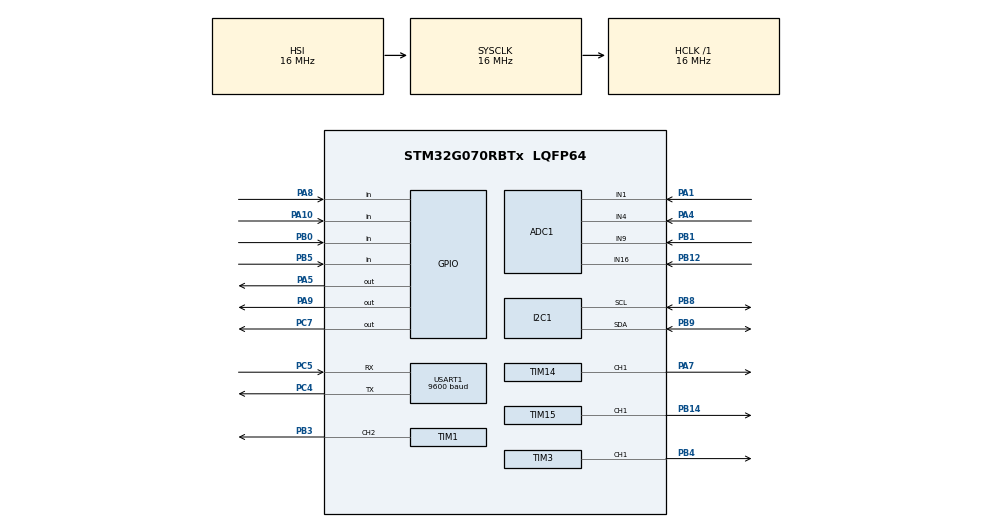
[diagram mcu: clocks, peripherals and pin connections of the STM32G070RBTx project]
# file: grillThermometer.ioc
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ADC1.DiscontinuousConvMode=ENABLE
ADC1.NbrOfConversion=1
ADC1.NbrOfConversionFlag=0
ADC1.SelectedChannel=ADC_CHANNEL_1|ADC_CHANNEL_4|ADC_CHANNEL_9|ADC_CHANNEL_16
ADC1.Sequencer=NOT_FULLY_CONFIGURABLE
ADC1.master=1
Mcu.Family=STM32G0
Mcu.Name=STM32G070RBTx
Mcu.Package=LQFP64
NVIC.ADC1_IRQn=true\:0\:0\:false\:false\:true\:true\:true
NVIC.USART1_IRQn=true\:0\:0\:false\:false\:true\:true\:true
PA1.Mode=IN1
PA1.Signal=ADC1_IN1
PA10.Signal=GPIO_Input
PA4.Mode=IN4
PA4.Signal=ADC1_IN4
PA5.Signal=GPIO_Output
PA7.Signal=S_TIM14_CH1
PA8.Signal=GPIO_Input
PA9.Signal=GPIO_Output
PB0.Signal=GPIO_Input
PB1.Mode=IN9
PB1.Signal=ADC1_IN9
PB12.Mode=IN16
PB12.Signal=ADC1_IN16
PB14.Signal=S_TIM15_CH1
PB3.Signal=S_TIM1_CH2
PB4.Signal=S_TIM3_CH1
PB5.Signal=GPIO_Input
PB8.Mode=I2C
PB8.Signal=I2C1_SCL
PB9.Mode=I2C
PB9.Signal=I2C1_SDA
PC4.Mode=Asynchronous
PC4.Signal=USART1_TX
PC5.Mode=Asynchronous
PC5.Signal=USART1_RX
PC7.Signal=GPIO_Output
ProjectManager.HeapSize=0x200
ProjectManager.StackSize=0x400
ProjectManager.TargetToolchain=EWARM V8.32
RCC.AHBFreq_Value=16000000
RCC.CortexFreq_Value=16000000
RCC.EXTERNAL_CLOCK_VALUE=48000
RCC.HCLKFreq_Value=16000000
RCC.HSE_VALUE=8000000
RCC.HSI_VALUE=16000000
RCC.LSE_VALUE=32768
RCC.SYSCLKFreq_VALUE=16000000
RCC.VCOOutputFreq_Value=128000000
SH.S_TIM14_CH1.0=TIM14_CH1,PWM Generation1 CH1
SH.S_TIM15_CH1.0=TIM15_CH1,PWM Generation1 CH1
SH.S_TIM1_CH2.0=TIM1_CH2,PWM Generation2 CH2
SH.S_TIM3_CH1.0=TIM3_CH1,PWM Generation1 CH1
TIM1.Channel-PWM\ Generation2\ CH2=TIM_CHANNEL_2
TIM14.Channel=TIM_CHANNEL_1
TIM14.Period=7000
TIM14.Pulse=3500
TIM15.Channel-PWM\ Generation1\ CH1=TIM_CHANNEL_1
TIM3.Channel-PWM\ Generation1\ CH1=TIM_CHANNEL_1
USART1.BaudRate=9600
USART1.VirtualMode-Asynchronous=VM_ASYNC
VP_SYS_VS_DBSignals.Mode=DisableDeadBatterySignals
VP_TIM14_VS_ClockSourceINT.Mode=Enable_Timer
VP_TIM15_VS_ClockSourceINT.Mode=Internal
VP_TIM1_VS_ClockSourceINT.Mode=Internal
VP_TIM3_VS_ClockSourceINT.Mode=Internal
board=custom

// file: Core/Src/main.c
/* USER CODE BEGIN Header */
/**
  ******************************************************************************
  * @file           : main.c
  * @brief          : Main program body
  ******************************************************************************
  * @attention
  *
  * <h2><center>&copy; Copyright (c) 2021 STMicroelectronics.
  * All rights reserved.</center></h2>
  *
  * This software component is licensed by ST under BSD 3-Clause license,
  * the "License"; You may not use this file except in compliance with the
  * License. You may obtain a copy of the License at:
  *                        opensource.org/licenses/BSD-3-Clause
  *
  ******************************************************************************
  */
/* USER CODE END Header */
#include "main.h"

/* USER CODE BEGIN Includes */
#include "KeyboardHoldRepeat.h"
#include "waveform_16.h"
#include "ssd1306.h"
#include "fonts.h"
#include "ux_manager.h"
#include "serial.h"
#include "serial_user.h"
#include "stm32g0xx_ll_usart.h"
#include "grill_bitmaps.h"
#include "Thermistor.h"
#include "Thermocouple.h"
#include <math.h>

/* USER CODE END Includes */

/* USER CODE BEGIN PD */

// LED defines
#define LED_ON GPIO_PIN_RESET
#define LED_OFF GPIO_PIN_SET
#define RGB_LED_ON GPIO_PIN_SET
#define RGB_LED_OFF GPIO_PIN_RESET
#define LED1 GPIOA, GPIO_PIN_9
#define LED2 GPIOC, GPIO_PIN_7
#define LED3 GPIOA, GPIO_PIN_5

/* USER CODE END PD */

ADC_HandleTypeDef hadc1;

I2C_HandleTypeDef hi2c1;

TIM_HandleTypeDef htim1;
TIM_HandleTypeDef htim3;
TIM_HandleTypeDef htim14;
TIM_HandleTypeDef htim15;

UART_HandleTypeDef huart1;

/* USER CODE BEGIN PV */

// scheduler variables
extern uint8_t ten_mS_Flag;
extern uint8_t twentyfive_mS_Flag;
extern uint8_t hundred_mS_Flag;
extern uint8_t one_S_Flag;

// RGB variables
#define LED_RAMP_TABLE half_sine_table_16_256
//#define LED_RAMP_TABLE linear_ramp_table_16_256
//#define LED_RAMP_TABLE triangle_wave_table_16_256

TIM_OC_InitTypeDef rConfigOC = {0}; // timer 15
TIM_OC_InitTypeDef gConfigOC = {0}; // timer 3
TIM_OC_InitTypeDef bConfigOC = {0}; // timer 1

#define R_INDEX_START 0
#define G_INDEX_START 86
#define B_INDEX_START 172
uint8_t rIndex = R_INDEX_START;
uint8_t gIndex = G_INDEX_START;
uint8_t bIndex = B_INDEX_START;
uint8_t rampRed = false;
uint8_t rampGreen = false;
uint8_t rampBlue = false;
uint8_t skipNumber = 8;
uint16_t ledLevel = 0;
uint8_t changeLEDs = false;

// PCB LEDs
uint8_t ledSeqStart = false;
uint8_t ledSeq = 0;

// keyboard variables
uint8_t keyCode = NO_KEY_PRESSED;

// beeper variables
uint8_t beepTime = 0;
uint8_t beepActive = false;
uint8_t beepDisabled = true;

// screen variables
uint8_t twohundred_mS_Flag = false;

// ADC variables
#define NUMBER_OF_ADC_CHANNELS 4
uint16_t adcResults[NUMBER_OF_ADC_CHANNELS];
uint32_t adcChannelNum[NUMBER_OF_ADC_CHANNELS] = {ADC_CHANNEL_1, ADC_CHANNEL_4, ADC_CHANNEL_9, ADC_CHANNEL_16}; // TC, TC_OFF, POT, TH
ADC_ChannelConfTypeDef gAdcConfig = {0};
uint8_t adcChanIndex = 0;

// thermistor/thermocouple variables
int16_t thTempC;
int16_t tcTempC;
int16_t addTcTh;
float calibratedTempC;
float calibratedTempF;
extern uint8_t unitSel;
extern uint8_t meatSelected;

// UART variables
extern uint8_t processPacket;
volatile uint16_t serialValue;

/* USER CODE END PV */

void SystemClock_Config(void);
static void MX_GPIO_Init(void);
static void MX_ADC1_Init(void);
static void MX_I2C1_Init(void);
static void MX_TIM1_Init(void);
static void MX_TIM3_Init(void);
static void MX_TIM14_Init(void);
static void MX_TIM15_Init(void);
static void MX_USART1_UART_Init(void);
/* USER CODE BEGIN PFP */
void InitValuesPWM(void);
void SetRedLedLevel(uint16_t r_level);
void SetGreenLedLevel(uint16_t g_level);
void SetBlueLedLevel(uint16_t b_level);

/* USER CODE END PFP */

int main(void)
{

  /* MCU Configuration--------------------------------------------------------*/

  /* Reset of all peripherals, Initializes the Flash interface and the Systick. */
  HAL_Init();

  /* Configure the system clock */
  SystemClock_Config();

  /* Initialize all configured peripherals */
  MX_GPIO_Init();
  MX_ADC1_Init();
  MX_I2C1_Init();
  MX_TIM1_Init();
  MX_TIM3_Init();
  MX_TIM14_Init();
  MX_TIM15_Init();
  MX_USART1_UART_Init();
  /* USER CODE BEGIN 2 */

  HAL_SYSCFG_StrobeDBattpinsConfig(SYSCFG_UCPD1_STROBE); // makes sure button inputs work properly

  // ADC INIT
  gAdcConfig.Channel = ADC_CHANNEL_9;
  gAdcConfig.Rank = ADC_REGULAR_RANK_1;
  gAdcConfig.SamplingTime = ADC_SAMPLINGTIME_COMMON_1;

  //InitInt16RunAverage16(&tcAveVoltage);

  // UART INIT
  HAL_UART_Transmit(&huart1,"Thermometer detected.\r\n", 21, 1000);
  LL_USART_EnableIT_RXNE_RXFNE(USART1);
  SendString("\r\nThermometer receiving packets.\r\n", 32, StripZeros, AddCRLF);

  // PWM INIT
  void InitValuesPWM(void);

  HAL_TIM_PWM_Start_IT(&htim15, TIM_CHANNEL_1);
  HAL_TIM_PWM_Start_IT(&htim3, TIM_CHANNEL_1);
  HAL_TIM_PWM_Start_IT(&htim1, TIM_CHANNEL_2);

  // DISPLAY INIT
  SSD1306_Init();
  SSD1306_Clear();
  SSD1306_DrawBitmap(32,0,grill0,64,64,SSD1306_COLOR_WHITE);
  SSD1306_UpdateScreen();
  HAL_Delay (350);
  SSD1306_DrawBitmap(32,0,grill1,64,64,SSD1306_COLOR_WHITE);
  SSD1306_UpdateScreen();
  HAL_Delay (350);
  SSD1306_DrawBitmap(32,0,grill2,64,64,SSD1306_COLOR_WHITE);
  SSD1306_UpdateScreen();
  HAL_Delay (350);
  SSD1306_DrawBitmap(32,0,grill3,64,64,SSD1306_COLOR_WHITE);
  SSD1306_UpdateScreen();
  HAL_Delay (350);
  SSD1306_DrawBitmap(32,0,grill4,64,64,SSD1306_COLOR_WHITE);
  SSD1306_UpdateScreen();
  HAL_Delay (350);
  SSD1306_DrawBitmap(32,0,grill5,64,64,SSD1306_COLOR_WHITE);
  SSD1306_UpdateScreen();
  HAL_Delay (350);
  SSD1306_DrawBitmap(32,0,grill6,64,64,SSD1306_COLOR_WHITE);
  SSD1306_UpdateScreen();
  HAL_Delay (350);
  SSD1306_DrawBitmap(32,0,grill7,64,64,SSD1306_COLOR_WHITE);
  SSD1306_UpdateScreen();
  HAL_Delay (350);
  //SSD1306_Clear();
  SSD1306_DrawBitmap(32,0,grill8,64,64,SSD1306_COLOR_WHITE);
  SSD1306_UpdateScreen();

  HAL_Delay (1000);

  SwitchScreens(HOME);

  /* USER CODE END 2 */

  /* Infinite loop */
  /* USER CODE BEGIN WHILE */
  while (1)
  {

    //---------------------------------
    // 10mS Tasks
    if (ten_mS_Flag) {
      ten_mS_Flag = false;

    }  // end of 10mS Tasks
    //---------------------------------

    //---------------------------------
    // 25mS Tasks
    if (twentyfive_mS_Flag) {
      twentyfive_mS_Flag = false;

      keyCode = ScanKeyboard();
      DebounceKeyCode(keyCode);

      if (processKeyCode == true) {
        ProcessKeyCodeInContext(keyCode);
      }

      if (adcChanIndex >= NUMBER_OF_ADC_CHANNELS)
        adcChanIndex = 0;

      gAdcConfig.Channel = adcChannelNum[adcChanIndex];

      HAL_ADC_ConfigChannel(&hadc1, &gAdcConfig);
      HAL_ADC_Start_IT(&hadc1);

    }  // end of 25mS Tasks
    //---------------------------------

    //---------------------------------
    // 100mS Tasks
    if (hundred_mS_Flag) {
      hundred_mS_Flag = false;

      if (rampRed == true) {
        SetRedLedLevel(LED_RAMP_TABLE[rIndex]);
        rIndex += skipNumber;
      }

      if (rampGreen == true) {
        SetGreenLedLevel(LED_RAMP_TABLE[gIndex]);
        gIndex += skipNumber;
      }

      if (rampBlue == true) {
        SetBlueLedLevel(LED_RAMP_TABLE[bIndex]);
        bIndex += skipNumber;
      }

      if (beepActive) {
        if (++beepTime == 5) {
          HAL_TIM_PWM_Start(&htim14, TIM_CHANNEL_1);
        }
        else if (beepTime >= 10) {
          HAL_TIM_PWM_Stop(&htim14, TIM_CHANNEL_1);
          beepTime = 0;
          meatSelected = 0;
          beepDisabled = true;
          if (beepDisabled) {
            beepActive = false;
            beepDisabled = false;
          }
        }
      }
//          if (beepDisabled) {
//            beepActive = false;
//            beepDisabled = false;
//          }
//        }
//      }

      twohundred_mS_Flag ^= 1;
      if (twohundred_mS_Flag == true) {
        UpdateScreenValues();
      }

    }  // end of 100mS Tasks
    //---------------------------------

    //---------------------------------
    // 1 Sec Tasks
    if (one_S_Flag) {
      one_S_Flag = false;

      thTempC = ThermCounts2DegC(adcResults[3]);
      tcTempC = tcCountsToDegC(adcResults[1]);
      addTcTh = tcTempC + thTempC;
      calibratedTempC = calibrationEqn(addTcTh);
      calibratedTempF = C2F(calibratedTempC, 1);

      if (unitSel == 0) {
        temp.data = calibratedTempF;
      }
      else {
        temp.data = calibratedTempC;
      }

      if (temp.data <= tarTemp.data && meatSelected == 1) {
        rampBlue = true;
        rampGreen = false;
      }
      else if (temp.data >= tarTemp.data && meatSelected == 1) {
        beepActive = true;
        rampGreen = true;
        rampBlue = false;
      }

      if (ledSeqStart) {
        switch(ledSeq++) {
        case 0:
          HAL_GPIO_WritePin(LED1, LED_ON);
          HAL_GPIO_WritePin(LED2, LED_OFF);
          HAL_GPIO_WritePin(LED3, LED_OFF);
          break;
        case 1:
          HAL_GPIO_WritePin(LED1, LED_OFF);
          HAL_GPIO_WritePin(LED2, LED_ON);
          HAL_GPIO_WritePin(LED3, LED_OFF);
          break;
        case 2:
          HAL_GPIO_WritePin(LED1, LED_OFF);
          HAL_GPIO_WritePin(LED2, LED_OFF);
          HAL_GPIO_WritePin(LED3, LED_ON);
          break;
        case 3:
          HAL_GPIO_WritePin(LED1, LED_OFF);
          HAL_GPIO_WritePin(LED2, LED_OFF);
          HAL_GPIO_WritePin(LED3, LED_OFF);
          ledSeq = 0;
          break;
        }
      }

    } // end of 1Sec Tasks
    //---------------------------------

    //---------------------------------
    // Every time through the loop

    if (nextSerialRxIn != nextSerialRx2Proc) {
      ProcessReceiveBuffer();
    }

    if (processPacket == true) {
      processPacket = false;

      ProcessPacket();
    }

    // end Every time through the loop
    //---------------------------------

    /* USER CODE END WHILE */

  }
}

void SystemClock_Config(void)
{
  RCC_OscInitTypeDef RCC_OscInitStruct = {0};
  RCC_ClkInitTypeDef RCC_ClkInitStruct = {0};
  RCC_PeriphCLKInitTypeDef PeriphClkInit = {0};

  /** Configure the main internal regulator output voltage
  */
  HAL_PWREx_ControlVoltageScaling(PWR_REGULATOR_VOLTAGE_SCALE1);
  /** Initializes the RCC Oscillators according to the specified parameters
  * in the RCC_OscInitTypeDef structure.
  */
  RCC_OscInitStruct.OscillatorType = RCC_OSCILLATORTYPE_HSI;
  RCC_OscInitStruct.HSIState = RCC_HSI_ON;
  RCC_OscInitStruct.HSIDiv = RCC_HSI_DIV1;
  RCC_OscInitStruct.HSICalibrationValue = RCC_HSICALIBRATION_DEFAULT;
  RCC_OscInitStruct.PLL.PLLState = RCC_PLL_NONE;
  if (HAL_RCC_OscConfig(&RCC_OscInitStruct) != HAL_OK)
  {
    Error_Handler();
  }
  /** Initializes the CPU, AHB and APB buses clocks
  */
  RCC_ClkInitStruct.ClockType = RCC_CLOCKTYPE_HCLK|RCC_CLOCKTYPE_SYSCLK
                              |RCC_CLOCKTYPE_PCLK1;
  RCC_ClkInitStruct.SYSCLKSource = RCC_SYSCLKSOURCE_HSI;
  RCC_ClkInitStruct.AHBCLKDivider = RCC_SYSCLK_DIV1;
  RCC_ClkInitStruct.APB1CLKDivider = RCC_HCLK_DIV1;

  if (HAL_RCC_ClockConfig(&RCC_ClkInitStruct, FLASH_LATENCY_0) != HAL_OK)
  {
    Error_Handler();
  }
  /** Initializes the peripherals clocks
  */
  PeriphClkInit.PeriphClockSelection = RCC_PERIPHCLK_USART1|RCC_PERIPHCLK_I2C1
                              |RCC_PERIPHCLK_ADC;
  PeriphClkInit.Usart1ClockSelection = RCC_USART1CLKSOURCE_PCLK1;
  PeriphClkInit.I2c1ClockSelection = RCC_I2C1CLKSOURCE_PCLK1;
  PeriphClkInit.AdcClockSelection = RCC_ADCCLKSOURCE_SYSCLK;
  if (HAL_RCCEx_PeriphCLKConfig(&PeriphClkInit) != HAL_OK)
  {
    Error_Handler();
  }
}

static void MX_ADC1_Init(void)
{

  ADC_ChannelConfTypeDef sConfig = {0};

  /** Configure the global features of the ADC (Clock, Resolution, Data Alignment and number of conversion)
  */
  hadc1.Instance = ADC1;
  hadc1.Init.ClockPrescaler = ADC_CLOCK_SYNC_PCLK_DIV2;
  hadc1.Init.Resolution = ADC_RESOLUTION_12B;
  hadc1.Init.DataAlign = ADC_DATAALIGN_RIGHT;
  hadc1.Init.ScanConvMode = ADC_SCAN_SEQ_FIXED;
  hadc1.Init.EOCSelection = ADC_EOC_SINGLE_CONV;
  hadc1.Init.LowPowerAutoWait = DISABLE;
  hadc1.Init.LowPowerAutoPowerOff = DISABLE;
  hadc1.Init.ContinuousConvMode = DISABLE;
  hadc1.Init.NbrOfConversion = 1;
  hadc1.Init.DiscontinuousConvMode = ENABLE;
  hadc1.Init.ExternalTrigConv = ADC_SOFTWARE_START;
  hadc1.Init.ExternalTrigConvEdge = ADC_EXTERNALTRIGCONVEDGE_NONE;
  hadc1.Init.DMAContinuousRequests = DISABLE;
  hadc1.Init.Overrun = ADC_OVR_DATA_PRESERVED;
  hadc1.Init.SamplingTimeCommon1 = ADC_SAMPLETIME_1CYCLE_5;
  hadc1.Init.OversamplingMode = DISABLE;
  hadc1.Init.TriggerFrequencyMode = ADC_TRIGGER_FREQ_HIGH;
  if (HAL_ADC_Init(&hadc1) != HAL_OK)
  {
    Error_Handler();
  }
  /** Configure Regular Channel
  */
  sConfig.Channel = ADC_CHANNEL_1;
  sConfig.Rank = ADC_RANK_CHANNEL_NUMBER;
  if (HAL_ADC_ConfigChannel(&hadc1, &sConfig) != HAL_OK)
  {
    Error_Handler();
  }
  /** Configure Regular Channel
  */
  sConfig.Channel = ADC_CHANNEL_4;
  if (HAL_ADC_ConfigChannel(&hadc1, &sConfig) != HAL_OK)
  {
    Error_Handler();
  }
  /** Configure Regular Channel
  */
  sConfig.Channel = ADC_CHANNEL_9;
  if (HAL_ADC_ConfigChannel(&hadc1, &sConfig) != HAL_OK)
  {
    Error_Handler();
  }
  /** Configure Regular Channel
  */
  sConfig.Channel = ADC_CHANNEL_16;
  if (HAL_ADC_ConfigChannel(&hadc1, &sConfig) != HAL_OK)
  {
    Error_Handler();
  }

}

static void MX_I2C1_Init(void)
{

  hi2c1.Instance = I2C1;
  hi2c1.Init.Timing = 0x00303D5B;
  hi2c1.Init.OwnAddress1 = 0;
  hi2c1.Init.AddressingMode = I2C_ADDRESSINGMODE_7BIT;
  hi2c1.Init.DualAddressMode = I2C_DUALADDRESS_DISABLE;
  hi2c1.Init.OwnAddress2 = 0;
  hi2c1.Init.OwnAddress2Masks = I2C_OA2_NOMASK;
  hi2c1.Init.GeneralCallMode = I2C_GENERALCALL_DISABLE;
  hi2c1.Init.NoStretchMode = I2C_NOSTRETCH_DISABLE;
  if (HAL_I2C_Init(&hi2c1) != HAL_OK)
  {
    Error_Handler();
  }
  /** Configure Analogue filter
  */
  if (HAL_I2CEx_ConfigAnalogFilter(&hi2c1, I2C_ANALOGFILTER_ENABLE) != HAL_OK)
  {
    Error_Handler();
  }
  /** Configure Digital filter
  */
  if (HAL_I2CEx_ConfigDigitalFilter(&hi2c1, 0) != HAL_OK)
  {
    Error_Handler();
  }

}

static void MX_TIM1_Init(void)
{

  TIM_ClockConfigTypeDef sClockSourceConfig = {0};
  TIM_MasterConfigTypeDef sMasterConfig = {0};
  TIM_OC_InitTypeDef sConfigOC = {0};
  TIM_BreakDeadTimeConfigTypeDef sBreakDeadTimeConfig = {0};

  htim1.Instance = TIM1;
  htim1.Init.Prescaler = 0;
  htim1.Init.CounterMode = TIM_COUNTERMODE_UP;
  htim1.Init.Period = 65535;
  htim1.Init.ClockDivision = TIM_CLOCKDIVISION_DIV1;
  htim1.Init.RepetitionCounter = 0;
  htim1.Init.AutoReloadPreload = TIM_AUTORELOAD_PRELOAD_DISABLE;
  if (HAL_TIM_Base_Init(&htim1) != HAL_OK)
  {
    Error_Handler();
  }
  sClockSourceConfig.ClockSource = TIM_CLOCKSOURCE_INTERNAL;
  if (HAL_TIM_ConfigClockSource(&htim1, &sClockSourceConfig) != HAL_OK)
  {
    Error_Handler();
  }
  if (HAL_TIM_PWM_Init(&htim1) != HAL_OK)
  {
    Error_Handler();
  }
  sMasterConfig.MasterOutputTrigger = TIM_TRGO_RESET;
  sMasterConfig.MasterOutputTrigger2 = TIM_TRGO2_RESET;
  sMasterConfig.MasterSlaveMode = TIM_MASTERSLAVEMODE_DISABLE;
  if (HAL_TIMEx_MasterConfigSynchronization(&htim1, &sMasterConfig) != HAL_OK)
  {
    Error_Handler();
  }
  sConfigOC.OCMode = TIM_OCMODE_PWM1;
  sConfigOC.Pulse = 0;
  sConfigOC.OCPolarity = TIM_OCPOLARITY_HIGH;
  sConfigOC.OCNPolarity = TIM_OCNPOLARITY_HIGH;
  sConfigOC.OCFastMode = TIM_OCFAST_DISABLE;
  sConfigOC.OCIdleState = TIM_OCIDLESTATE_RESET;
  sConfigOC.OCNIdleState = TIM_OCNIDLESTATE_RESET;
  if (HAL_TIM_PWM_ConfigChannel(&htim1, &sConfigOC, TIM_CHANNEL_2) != HAL_OK)
  {
    Error_Handler();
  }
  sBreakDeadTimeConfig.OffStateRunMode = TIM_OSSR_DISABLE;
  sBreakDeadTimeConfig.OffStateIDLEMode = TIM_OSSI_DISABLE;
  sBreakDeadTimeConfig.LockLevel = TIM_LOCKLEVEL_OFF;
  sBreakDeadTimeConfig.DeadTime = 0;
  sBreakDeadTimeConfig.BreakState = TIM_BREAK_DISABLE;
  sBreakDeadTimeConfig.BreakPolarity = TIM_BREAKPOLARITY_HIGH;
  sBreakDeadTimeConfig.BreakFilter = 0;
  sBreakDeadTimeConfig.BreakAFMode = TIM_BREAK_AFMODE_INPUT;
  sBreakDeadTimeConfig.Break2State = TIM_BREAK2_DISABLE;
  sBreakDeadTimeConfig.Break2Polarity = TIM_BREAK2POLARITY_HIGH;
  sBreakDeadTimeConfig.Break2Filter = 0;
  sBreakDeadTimeConfig.Break2AFMode = TIM_BREAK_AFMODE_INPUT;
  sBreakDeadTimeConfig.AutomaticOutput = TIM_AUTOMATICOUTPUT_DISABLE;
  if (HAL_TIMEx_ConfigBreakDeadTime(&htim1, &sBreakDeadTimeConfig) != HAL_OK)
  {
    Error_Handler();
  }
  HAL_TIM_MspPostInit(&htim1);

}

static void MX_TIM3_Init(void)
{

  TIM_ClockConfigTypeDef sClockSourceConfig = {0};
  TIM_MasterConfigTypeDef sMasterConfig = {0};
  TIM_OC_InitTypeDef sConfigOC = {0};

  htim3.Instance = TIM3;
  htim3.Init.Prescaler = 0;
  htim3.Init.CounterMode = TIM_COUNTERMODE_UP;
  htim3.Init.Period = 65535;
  htim3.Init.ClockDivision = TIM_CLOCKDIVISION_DIV1;
  htim3.Init.AutoReloadPreload = TIM_AUTORELOAD_PRELOAD_DISABLE;
  if (HAL_TIM_Base_Init(&htim3) != HAL_OK)
  {
    Error_Handler();
  }
  sClockSourceConfig.ClockSource = TIM_CLOCKSOURCE_INTERNAL;
  if (HAL_TIM_ConfigClockSource(&htim3, &sClockSourceConfig) != HAL_OK)
  {
    Error_Handler();
  }
  if (HAL_TIM_PWM_Init(&htim3) != HAL_OK)
  {
    Error_Handler();
  }
  sMasterConfig.MasterOutputTrigger = TIM_TRGO_RESET;
  sMasterConfig.MasterSlaveMode = TIM_MASTERSLAVEMODE_DISABLE;
  if (HAL_TIMEx_MasterConfigSynchronization(&htim3, &sMasterConfig) != HAL_OK)
  {
    Error_Handler();
  }
  sConfigOC.OCMode = TIM_OCMODE_PWM1;
  sConfigOC.Pulse = 0;
  sConfigOC.OCPolarity = TIM_OCPOLARITY_HIGH;
  sConfigOC.OCFastMode = TIM_OCFAST_DISABLE;
  if (HAL_TIM_PWM_ConfigChannel(&htim3, &sConfigOC, TIM_CHANNEL_1) != HAL_OK)
  {
    Error_Handler();
  }
  HAL_TIM_MspPostInit(&htim3);

}

static void MX_TIM14_Init(void)
{

  TIM_OC_InitTypeDef sConfigOC = {0};

  htim14.Instance = TIM14;
  htim14.Init.Prescaler = 0;
  htim14.Init.CounterMode = TIM_COUNTERMODE_UP;
  htim14.Init.Period = 7000;
  htim14.Init.ClockDivision = TIM_CLOCKDIVISION_DIV1;
  htim14.Init.AutoReloadPreload = TIM_AUTORELOAD_PRELOAD_DISABLE;
  if (HAL_TIM_Base_Init(&htim14) != HAL_OK)
  {
    Error_Handler();
  }
  if (HAL_TIM_PWM_Init(&htim14) != HAL_OK)
  {
    Error_Handler();
  }
  sConfigOC.OCMode = TIM_OCMODE_PWM1;
  sConfigOC.Pulse = 3500;
  sConfigOC.OCPolarity = TIM_OCPOLARITY_HIGH;
  sConfigOC.OCFastMode = TIM_OCFAST_DISABLE;
  if (HAL_TIM_PWM_ConfigChannel(&htim14, &sConfigOC, TIM_CHANNEL_1) != HAL_OK)
  {
    Error_Handler();
  }
  HAL_TIM_MspPostInit(&htim14);

}

static void MX_TIM15_Init(void)
{

  TIM_ClockConfigTypeDef sClockSourceConfig = {0};
  TIM_MasterConfigTypeDef sMasterConfig = {0};
  TIM_OC_InitTypeDef sConfigOC = {0};
  TIM_BreakDeadTimeConfigTypeDef sBreakDeadTimeConfig = {0};

  htim15.Instance = TIM15;
  htim15.Init.Prescaler = 0;
  htim15.Init.CounterMode = TIM_COUNTERMODE_UP;
  htim15.Init.Period = 65535;
  htim15.Init.ClockDivision = TIM_CLOCKDIVISION_DIV1;
  htim15.Init.RepetitionCounter = 0;
  htim15.Init.AutoReloadPreload = TIM_AUTORELOAD_PRELOAD_DISABLE;
  if (HAL_TIM_Base_Init(&htim15) != HAL_OK)
  {
    Error_Handler();
  }
  sClockSourceConfig.ClockSource = TIM_CLOCKSOURCE_INTERNAL;
  if (HAL_TIM_ConfigClockSource(&htim15, &sClockSourceConfig) != HAL_OK)
  {
    Error_Handler();
  }
  if (HAL_TIM_PWM_Init(&htim15) != HAL_OK)
  {
    Error_Handler();
  }
  sMasterConfig.MasterOutputTrigger = TIM_TRGO_RESET;
  sMasterConfig.MasterSlaveMode = TIM_MASTERSLAVEMODE_DISABLE;
  if (HAL_TIMEx_MasterConfigSynchronization(&htim15, &sMasterConfig) != HAL_OK)
  {
    Error_Handler();
  }
  sConfigOC.OCMode = TIM_OCMODE_PWM1;
  sConfigOC.Pulse = 0;
  sConfigOC.OCPolarity = TIM_OCPOLARITY_HIGH;
  sConfigOC.OCNPolarity = TIM_OCNPOLARITY_HIGH;
  sConfigOC.OCFastMode = TIM_OCFAST_DISABLE;
  sConfigOC.OCIdleState = TIM_OCIDLESTATE_RESET;
  sConfigOC.OCNIdleState = TIM_OCNIDLESTATE_RESET;
  if (HAL_TIM_PWM_ConfigChannel(&htim15, &sConfigOC, TIM_CHANNEL_1) != HAL_OK)
  {
    Error_Handler();
  }
  sBreakDeadTimeConfig.OffStateRunMode = TIM_OSSR_DISABLE;
  sBreakDeadTimeConfig.OffStateIDLEMode = TIM_OSSI_DISABLE;
  sBreakDeadTimeConfig.LockLevel = TIM_LOCKLEVEL_OFF;
  sBreakDeadTimeConfig.DeadTime = 0;
  sBreakDeadTimeConfig.BreakState = TIM_BREAK_DISABLE;
  sBreakDeadTimeConfig.BreakPolarity = TIM_BREAKPOLARITY_HIGH;
  sBreakDeadTimeConfig.BreakFilter = 0;
  sBreakDeadTimeConfig.AutomaticOutput = TIM_AUTOMATICOUTPUT_DISABLE;
  if (HAL_TIMEx_ConfigBreakDeadTime(&htim15, &sBreakDeadTimeConfig) != HAL_OK)
  {
    Error_Handler();
  }
  HAL_TIM_MspPostInit(&htim15);

}

static void MX_USART1_UART_Init(void)
{

  huart1.Instance = USART1;
  huart1.Init.BaudRate = 9600;
  huart1.Init.WordLength = UART_WORDLENGTH_8B;
  huart1.Init.StopBits = UART_STOPBITS_1;
  huart1.Init.Parity = UART_PARITY_NONE;
  huart1.Init.Mode = UART_MODE_TX_RX;
  huart1.Init.HwFlowCtl = UART_HWCONTROL_NONE;
  huart1.Init.OverSampling = UART_OVERSAMPLING_16;
  huart1.Init.OneBitSampling = UART_ONE_BIT_SAMPLE_DISABLE;
  huart1.Init.ClockPrescaler = UART_PRESCALER_DIV1;
  huart1.AdvancedInit.AdvFeatureInit = UART_ADVFEATURE_NO_INIT;
  if (HAL_UART_Init(&huart1) != HAL_OK)
  {
    Error_Handler();
  }
  if (HAL_UARTEx_SetTxFifoThreshold(&huart1, UART_TXFIFO_THRESHOLD_1_8) != HAL_OK)
  {
    Error_Handler();
  }
  if (HAL_UARTEx_SetRxFifoThreshold(&huart1, UART_RXFIFO_THRESHOLD_1_8) != HAL_OK)
  {
    Error_Handler();
  }
  if (HAL_UARTEx_DisableFifoMode(&huart1) != HAL_OK)
  {
    Error_Handler();
  }

}

static void MX_GPIO_Init(void)
{
  GPIO_InitTypeDef GPIO_InitStruct = {0};

  /* GPIO Ports Clock Enable */
  __HAL_RCC_GPIOA_CLK_ENABLE();
  __HAL_RCC_GPIOC_CLK_ENABLE();
  __HAL_RCC_GPIOB_CLK_ENABLE();

  /*Configure GPIO pin Output Level */
  HAL_GPIO_WritePin(GPIOA, GPIO_PIN_5|GPIO_PIN_9, GPIO_PIN_RESET);

  /*Configure GPIO pin Output Level */
  HAL_GPIO_WritePin(GPIOC, GPIO_PIN_7, GPIO_PIN_RESET);

  /*Configure GPIO pins : PA5 PA9 */
  GPIO_InitStruct.Pin = GPIO_PIN_5|GPIO_PIN_9;
  GPIO_InitStruct.Mode = GPIO_MODE_OUTPUT_PP;
  GPIO_InitStruct.Pull = GPIO_NOPULL;
  GPIO_InitStruct.Speed = GPIO_SPEED_FREQ_LOW;
  HAL_GPIO_Init(GPIOA, &GPIO_InitStruct);

  /*Configure GPIO pins : PB0 PB5 */
  GPIO_InitStruct.Pin = GPIO_PIN_0|GPIO_PIN_5;
  GPIO_InitStruct.Mode = GPIO_MODE_INPUT;
  GPIO_InitStruct.Pull = GPIO_NOPULL;
  HAL_GPIO_Init(GPIOB, &GPIO_InitStruct);

  /*Configure GPIO pins : PA8 PA10 */
  GPIO_InitStruct.Pin = GPIO_PIN_8|GPIO_PIN_10;
  GPIO_InitStruct.Mode = GPIO_MODE_INPUT;
  GPIO_InitStruct.Pull = GPIO_NOPULL;
  HAL_GPIO_Init(GPIOA, &GPIO_InitStruct);

  /*Configure GPIO pin : PC7 */
  GPIO_InitStruct.Pin = GPIO_PIN_7;
  GPIO_InitStruct.Mode = GPIO_MODE_OUTPUT_PP;
  GPIO_InitStruct.Pull = GPIO_NOPULL;
  GPIO_InitStruct.Speed = GPIO_SPEED_FREQ_LOW;
  HAL_GPIO_Init(GPIOC, &GPIO_InitStruct);

}

/* USER CODE BEGIN 4 */

void InitValuesPWM(void)
{
  // timer 15
  rConfigOC.OCMode = TIM_OCMODE_PWM1;
  rConfigOC.Pulse = 0;
  rConfigOC.OCPolarity = TIM_OCPOLARITY_HIGH;
  rConfigOC.OCNPolarity = TIM_OCNPOLARITY_HIGH;
  rConfigOC.OCFastMode = TIM_OCFAST_DISABLE;
  rConfigOC.OCIdleState = TIM_OCIDLESTATE_RESET;
  rConfigOC.OCNIdleState = TIM_OCNIDLESTATE_RESET;

  // timer 3
  gConfigOC.OCMode = TIM_OCMODE_PWM1;
  gConfigOC.Pulse = 0;
  gConfigOC.OCPolarity = TIM_OCPOLARITY_HIGH;
  gConfigOC.OCFastMode = TIM_OCFAST_DISABLE;

  // timer 1
  bConfigOC.OCMode = TIM_OCMODE_PWM1;
  bConfigOC.Pulse = 0;
  bConfigOC.OCPolarity = TIM_OCPOLARITY_HIGH;
  bConfigOC.OCNPolarity = TIM_OCNPOLARITY_HIGH;
  bConfigOC.OCFastMode = TIM_OCFAST_DISABLE;
  bConfigOC.OCIdleState = TIM_OCIDLESTATE_RESET;
  bConfigOC.OCNIdleState = TIM_OCNIDLESTATE_RESET;

}

void SetRedLedLevel(uint16_t r_level)
{
  TIM_OC_InitTypeDef sConfigOC = {0};

  sConfigOC.OCMode = TIM_OCMODE_PWM1;
  sConfigOC.Pulse = r_level;
  sConfigOC.OCPolarity = TIM_OCPOLARITY_HIGH;
  sConfigOC.OCNPolarity = TIM_OCNPOLARITY_HIGH;
  sConfigOC.OCFastMode = TIM_OCFAST_DISABLE;
  sConfigOC.OCIdleState = TIM_OCIDLESTATE_RESET;
  sConfigOC.OCNIdleState = TIM_OCNIDLESTATE_RESET;

  HAL_TIM_PWM_Stop(&htim15, TIM_CHANNEL_1);
  HAL_TIM_PWM_ConfigChannel(&htim15, &sConfigOC, TIM_CHANNEL_1);
  HAL_TIM_PWM_Start(&htim15, TIM_CHANNEL_1);
}

void SetGreenLedLevel(uint16_t g_level)
{
  TIM_OC_InitTypeDef sConfigOC = {0};

  sConfigOC.OCMode = TIM_OCMODE_PWM1;
  sConfigOC.Pulse = g_level;
  sConfigOC.OCPolarity = TIM_OCPOLARITY_HIGH;
  sConfigOC.OCFastMode = TIM_OCFAST_DISABLE;

  HAL_TIM_PWM_Stop(&htim3, TIM_CHANNEL_1);
  HAL_TIM_PWM_ConfigChannel(&htim3, &sConfigOC, TIM_CHANNEL_1);
  HAL_TIM_PWM_Start(&htim3, TIM_CHANNEL_1);
}

void SetBlueLedLevel(uint16_t b_level)
{
  TIM_OC_InitTypeDef sConfigOC = {0};

  sConfigOC.OCMode = TIM_OCMODE_PWM1;
  sConfigOC.Pulse = b_level;
  sConfigOC.OCPolarity = TIM_OCPOLARITY_HIGH;
  sConfigOC.OCNPolarity = TIM_OCNPOLARITY_HIGH;
  sConfigOC.OCFastMode = TIM_OCFAST_DISABLE;
  sConfigOC.OCIdleState = TIM_OCIDLESTATE_RESET;
  sConfigOC.OCNIdleState = TIM_OCNIDLESTATE_RESET;

  HAL_TIM_PWM_Stop(&htim1, TIM_CHANNEL_2);
  HAL_TIM_PWM_ConfigChannel(&htim1, &sConfigOC, TIM_CHANNEL_2);
  HAL_TIM_PWM_Start(&htim1, TIM_CHANNEL_2);
}

/* USER CODE END 4 */

void Error_Handler(void)
{
  __disable_irq();
  while (1)
  {
  }
}

/************************ (C) COPYRIGHT STMicroelectronics *****END OF FILE****/
